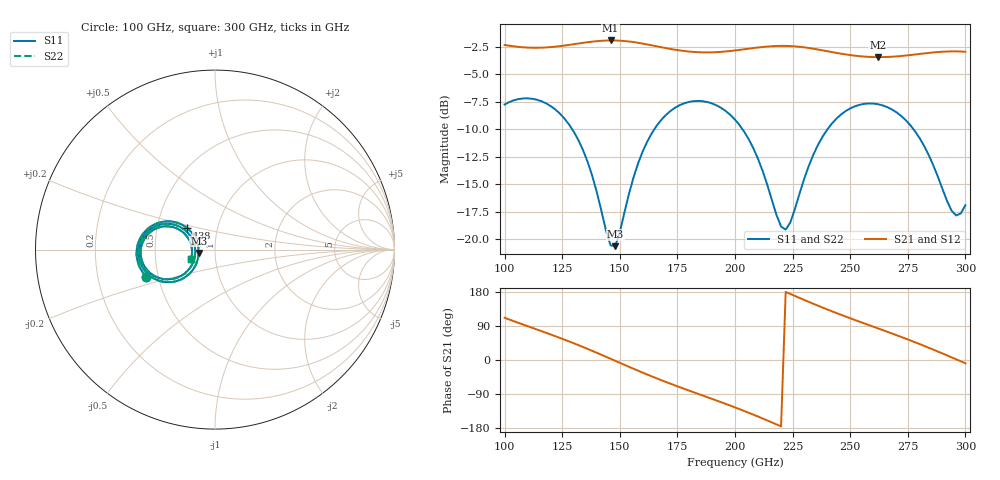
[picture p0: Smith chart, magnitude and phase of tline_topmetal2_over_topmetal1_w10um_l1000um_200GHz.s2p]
#  GHZ S DB R 50
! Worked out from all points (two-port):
!   101 points, 100 GHz to 300 GHz, reference 50 ohm
!   highest |S21| = -1.90 dB at 146 GHz (marker M1); lowest = -3.4 dB at 262 GHz (marker M2)
!   |S21| within 3 dB of the highest: start of sweep to end of sweep
!   lowest |S11| = -20.6 dB at 148 GHz (marker M3), VSWR 1.20, Z = 41.6 - j1.59 ohm
!   |S11| at or under -10 dB: 129.4 GHz to 165 GHz (35.62 GHz wide, 24.2 % of centre); 203.3 GHz to 240.1 GHz (36.82 GHz wide, 16.6 % of centre); 277.5 GHz to end of sweep
!   |S22| runs from -20.7 to -7.2 dB; largest |S21 - S12| = 8.8e-14
!   S11 on the Smith chart (normalised r, x): 100 GHz: 0.43, -0.16; 138 GHz: 0.71, +0.18; 300 GHz: 0.76, -0.08
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100  -7.74 -158.5  -2.31 111.3  -2.31 111.3  -7.74 -158.5
110  -7.17 -176.7  -2.55 89.2  -2.55 89.2  -7.17 -176.8
118  -7.63 169.1  -2.54 71.8  -2.54 71.8  -7.63 169.0
134  -11.87 144.3  -2.12 34.4  -2.12 34.4  -11.88 144.2
138  -14.21 142.2  -2.01 24.3  -2.01 24.3  -14.22 142.1
146  -20.57 172.2  -1.90 3.2  -1.90 3.2  -20.62 172.1
148  -20.64 -168.3  -1.91 -2.1  -1.91 -2.1  -20.69 -168.2
158  -13.06 -137.1  -2.12 -28.4  -2.12 -28.4  -13.07 -137.0
168  -9.13 -149.7  -2.52 -53.2  -2.52 -53.2  -9.14 -149.6
184  -7.41 -176.6  -2.97 -89.4  -2.97 -89.4  -7.41 -176.5
200  -9.11 157.7  -2.81 -125.1  -2.81 -125.1  -9.11 157.7
212  -13.79 146.9  -2.50 -154.4  -2.50 -154.4  -13.80 146.8
218  -17.80 159.6  -2.41 -169.9  -2.41 -169.9  -17.82 159.5
222  -19.13 -174.4  -2.40 179.6  -2.40 179.6  -19.17 -174.3
234  -12.31 -142.4  -2.65 148.4  -2.65 148.4  -12.32 -142.2
248  -8.34 -159.9  -3.17 114.7  -3.17 114.7  -8.34 -159.8
262  -7.71 178.1  -3.42 83.6  -3.42 83.6  -7.71 178.2
268  -8.17 168.9  -3.38 70.2  -3.38 70.2  -8.17 169.0
278  -10.13 155.4  -3.18 47.2  -3.18 47.2  -10.13 155.6
286  -13.24 150.9  -2.99 27.5  -2.99 27.5  -13.23 151.0
294  -17.40 169.3  -2.90 7.0  -2.90 7.0  -17.39 169.4
300  -16.91 -159.2  -2.93 -8.6  -2.93 -8.6  -16.90 -159.1
